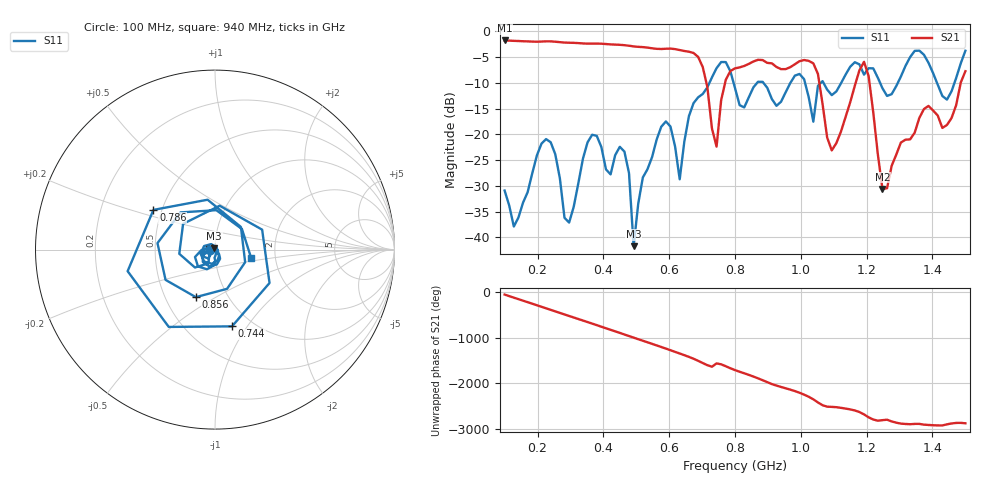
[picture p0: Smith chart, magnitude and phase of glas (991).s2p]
! NanoVNA-App
! Date: 2025-09-25 16:03:11
! Start: 100MHz Stop: 1,5GHz Points: 101
! S-Parameter data: F S11 S21 S12 S22
# Hz S RI R 50
!  Frequency  S11_Real  S11_Imag  S21_Real  S21_Imag  S12_Real  S12_Imag  S22_Real  S22_Imag
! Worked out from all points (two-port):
!   101 points, 100 MHz to 1.5 GHz, reference 50 ohm
!   highest |S21| = -1.80 dB at 100 MHz (marker M1); lowest = -30.6 dB at 1.248 GHz (marker M2)
!   |S21| within 3 dB of the highest: start of sweep to 684.6 MHz
!   lowest |S11| = -41.7 dB at 492 MHz (marker M3), VSWR 1.02, Z = 49.5 + j0.633 ohm
!   |S11| at or under -10 dB: start of sweep to 722.5 MHz; 795.6 MHz to 867.6 MHz (72 MHz wide, 8.66 % of centre); 886.1 MHz to 968.6 MHz (82.49 MHz wide, 8.9 % of centre) (the widest 3 of 7)
!   S12 and S22 are empty: the file has one direction only
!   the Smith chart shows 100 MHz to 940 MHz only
!   S11 on the Smith chart (normalised r, x): 100 MHz: 0.94, -0.01; 744 MHz: 0.81, -0.85; 786 MHz: 0.45, +0.24; 856 MHz: 0.71, -0.41; 940 MHz: 1.50, -0.15
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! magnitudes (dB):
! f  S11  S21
! 100 MHz  -30.9  -1.8
! 128 MHz  -37.9  -1.9
! 226 MHz  -20.9  -2.0
! 296 MHz  -37.1  -2.2
! 338 MHz  -24.7  -2.4
! 464 MHz  -23.4  -2.7
! 492 MHz  -41.7  -3.0
! 576 MHz  -18.5  -3.5
! 632 MHz  -28.7  -3.7
! 702 MHz  -12.2  -7.0
! 744 MHz  -7.2  -22.4
! 786 MHz  -7.8  -7.7
! 800 MHz  -11.0  -7.2
! 856 MHz  -10.9  -5.9
! 940 MHz  -13.7  -7.4
! 996 MHz  -8.3  -5.8
! 1.038 GHz  -17.6  -6.2
! 1.094 GHz  -12.4  -23.1
! 1.192 GHz  -8.4  -5.9
! 1.248 GHz  -11.1  -30.6
! 1.276 GHz  -12.2  -26.1
! 1.5 GHz  -3.8  -7.8
